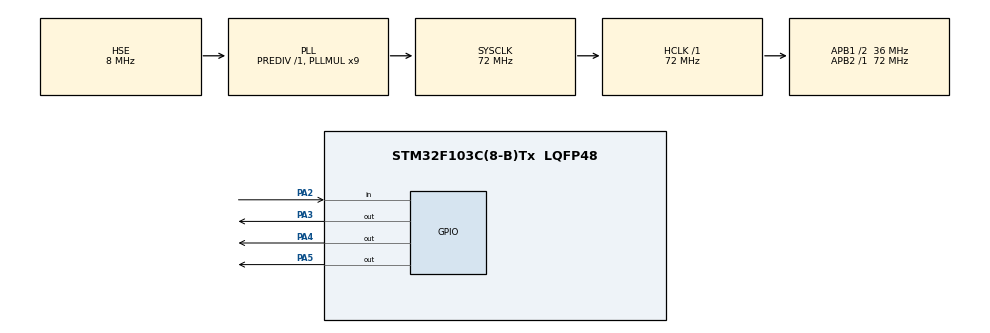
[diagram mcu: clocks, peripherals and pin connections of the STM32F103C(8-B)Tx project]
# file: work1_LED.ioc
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FREERTOS.Tasks01=defaultTask,24,128,StartDefaultTask,Default,NULL,Dynamic,NULL,NULL
Mcu.Family=STM32F1
Mcu.Name=STM32F103C(8-B)Tx
Mcu.Package=LQFP48
NVIC.PriorityGroup=NVIC_PRIORITYGROUP_4
NVIC.TIM4_IRQn=true\:15\:0\:false\:false\:true\:false\:false\:true\:true
NVIC.TimeBase=TIM4_IRQn
NVIC.TimeBaseIP=TIM4
PA13.Mode=Serial_Wire
PA13.Signal=SYS_JTMS-SWDIO
PA14.Mode=Serial_Wire
PA14.Signal=SYS_JTCK-SWCLK
PA2.GPIO_PuPd=GPIO_PULLDOWN
PA2.Signal=GPIO_Input
PA3.GPIO_ModeDefaultOutputPP=GPIO_MODE_OUTPUT_PP
PA3.GPIO_PuPd=GPIO_NOPULL
PA3.PinState=GPIO_PIN_SET
PA3.Signal=GPIO_Output
PA4.GPIO_ModeDefaultOutputPP=GPIO_MODE_OUTPUT_PP
PA4.GPIO_PuPd=GPIO_NOPULL
PA4.PinState=GPIO_PIN_SET
PA4.Signal=GPIO_Output
PA5.GPIO_ModeDefaultOutputPP=GPIO_MODE_OUTPUT_PP
PA5.GPIO_PuPd=GPIO_NOPULL
PA5.PinState=GPIO_PIN_SET
PA5.Signal=GPIO_Output
PD0-OSC_IN.Mode=HSE-External-Oscillator
PD0-OSC_IN.Signal=RCC_OSC_IN
PD1-OSC_OUT.Mode=HSE-External-Oscillator
PD1-OSC_OUT.Signal=RCC_OSC_OUT
ProjectManager.HeapSize=0x200
ProjectManager.StackSize=0x400
ProjectManager.TargetToolchain=CMake
RCC.AHBFreq_Value=72000000
RCC.APB1CLKDivider=RCC_HCLK_DIV2
RCC.APB1Freq_Value=36000000
RCC.APB1TimFreq_Value=72000000
RCC.APB2Freq_Value=72000000
RCC.APB2TimFreq_Value=72000000
RCC.HCLKFreq_Value=72000000
RCC.PLLMUL=RCC_PLL_MUL9
RCC.PLLSourceVirtual=RCC_PLLSOURCE_HSE
RCC.SYSCLKFreq_VALUE=72000000
RCC.SYSCLKSource=RCC_SYSCLKSOURCE_PLLCLK
RCC.USBFreq_Value=72000000
VP_FREERTOS_VS_CMSIS_V2.Mode=CMSIS_V2
VP_SYS_VS_tim4.Mode=TIM4
board=custom

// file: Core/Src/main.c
/* USER CODE BEGIN Header */
/**
  ******************************************************************************
  * @file           : main.c
  * @brief          : Main program body
  ******************************************************************************
  * @attention
  *
  * Copyright (c) 2026 STMicroelectronics.
  * All rights reserved.
  *
  * This software is licensed under terms that can be found in the LICENSE file
  * in the root directory of this software component.
  * If no LICENSE file comes with this software, it is provided AS-IS.
  *
  ******************************************************************************
  */
/* USER CODE END Header */
#include "main.h"
#include "cmsis_os.h"
#include "gpio.h"

/* USER CODE BEGIN Includes */
#include "LED.h"
/* USER CODE END Includes */

/* USER CODE BEGIN PV */
led_t led1;
led_t led2;
led_t led3;
/* USER CODE END PV */

void SystemClock_Config(void);
void MX_FREERTOS_Init(void);

int main(void)
{

  /* USER CODE BEGIN 1 */
  Led_Control(&led1,GPIOA,GPIO_PIN_3,0);
  Led_Control(&led2,GPIOA,GPIO_PIN_4,0);
  Led_Control(&led3,GPIOA,GPIO_PIN_5,0);
  /* USER CODE END 1 */

  /* MCU Configuration--------------------------------------------------------*/

  /* Reset of all peripherals, Initializes the Flash interface and the Systick. */
  HAL_Init();

  /* Configure the system clock */
  SystemClock_Config();

  /* Initialize all configured peripherals */
  MX_GPIO_Init();

  /* Init scheduler */
  osKernelInitialize();  /* Call init function for freertos objects (in cmsis_os2.c) */
  MX_FREERTOS_Init();

  /* Start scheduler */
  osKernelStart();

  /* We should never get here as control is now taken by the scheduler */

  /* Infinite loop */
  while (1)
  {

  }
}

void SystemClock_Config(void)
{
  RCC_OscInitTypeDef RCC_OscInitStruct = {0};
  RCC_ClkInitTypeDef RCC_ClkInitStruct = {0};

  /** Initializes the RCC Oscillators according to the specified parameters
  * in the RCC_OscInitTypeDef structure.
  */
  RCC_OscInitStruct.OscillatorType = RCC_OSCILLATORTYPE_HSE;
  RCC_OscInitStruct.HSEState = RCC_HSE_ON;
  RCC_OscInitStruct.HSEPredivValue = RCC_HSE_PREDIV_DIV1;
  RCC_OscInitStruct.HSIState = RCC_HSI_ON;
  RCC_OscInitStruct.PLL.PLLState = RCC_PLL_ON;
  RCC_OscInitStruct.PLL.PLLSource = RCC_PLLSOURCE_HSE;
  RCC_OscInitStruct.PLL.PLLMUL = RCC_PLL_MUL9;
  if (HAL_RCC_OscConfig(&RCC_OscInitStruct) != HAL_OK)
  {
    Error_Handler();
  }

  /** Initializes the CPU, AHB and APB buses clocks
  */
  RCC_ClkInitStruct.ClockType = RCC_CLOCKTYPE_HCLK|RCC_CLOCKTYPE_SYSCLK
                              |RCC_CLOCKTYPE_PCLK1|RCC_CLOCKTYPE_PCLK2;
  RCC_ClkInitStruct.SYSCLKSource = RCC_SYSCLKSOURCE_PLLCLK;
  RCC_ClkInitStruct.AHBCLKDivider = RCC_SYSCLK_DIV1;
  RCC_ClkInitStruct.APB1CLKDivider = RCC_HCLK_DIV2;
  RCC_ClkInitStruct.APB2CLKDivider = RCC_HCLK_DIV1;

  if (HAL_RCC_ClockConfig(&RCC_ClkInitStruct, FLASH_LATENCY_2) != HAL_OK)
  {
    Error_Handler();
  }
}

void HAL_TIM_PeriodElapsedCallback(TIM_HandleTypeDef *htim)
{
  if (htim->Instance == TIM4)
  {
    HAL_IncTick();
  }
}

void Error_Handler(void)
{
  __disable_irq();
  while (1)
  {
  }
}

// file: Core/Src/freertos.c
/* USER CODE BEGIN Header */
/**
  ******************************************************************************
  * File Name          : freertos.c
  * Description        : Code for freertos applications
  ******************************************************************************
  * @attention
  *
  * Copyright (c) 2026 STMicroelectronics.
  * All rights reserved.
  *
  * This software is licensed under terms that can be found in the LICENSE file
  * in the root directory of this software component.
  * If no LICENSE file comes with this software, it is provided AS-IS.
  *
  ******************************************************************************
  */
/* USER CODE END Header */

#include "FreeRTOS.h"
#include "task.h"
#include "main.h"
#include "cmsis_os.h"

/* USER CODE BEGIN Includes */
#include "LED_PA3.hpp"
#include "LED_PA4.hpp"
#include "LED_PA5.hpp"
/* USER CODE END Includes */

/* USER CODE BEGIN PM */
osThreadId_t LED_PA3_Handle;
osThreadId_t LED_PA4_Handle;
osThreadId_t LED_PA5_Handle;

/* USER CODE END PM */

/* Definitions for defaultTask */
osThreadId_t defaultTaskHandle;
const osThreadAttr_t defaultTask_attributes = {
  .name = "defaultTask",
  .stack_size = 128 * 4,
  .priority = (osPriority_t) osPriorityNormal,
};

/* USER CODE BEGIN FunctionPrototypes */
  const osThreadAttr_t LED_PA3_attributes = {
      .name = "LED_PA3",
      .stack_size = 128 * 4,
      .priority = (osPriority_t) osPriorityNormal,
    };

      const osThreadAttr_t LED_PA4_attributes = {
      .name = "LED_PA4",
      .stack_size = 128 * 4,
      .priority = (osPriority_t) osPriorityNormal,
    };

      const osThreadAttr_t LED_PA5_attributes = {
      .name = "LED_PA5",
      .stack_size = 128 * 4,
      .priority = (osPriority_t) osPriorityNormal,
    };

/* USER CODE END FunctionPrototypes */

void StartDefaultTask(void *argument);

void MX_FREERTOS_Init(void); /* (MISRA C 2004 rule 8.1) */

void MX_FREERTOS_Init(void) {

  /* Create the thread(s) */
  /* creation of defaultTask */
  defaultTaskHandle = osThreadNew(StartDefaultTask, NULL, &defaultTask_attributes);

  /* USER CODE BEGIN RTOS_THREADS */
  /* add threads, ... */
  /* create LED tasks */
  {

    LED_PA3_Handle = osThreadNew(LED_PA3, NULL, &LED_PA3_attributes);
    LED_PA4_Handle = osThreadNew(LED_PA4, NULL, &LED_PA4_attributes);
    LED_PA5_Handle = osThreadNew(LED_PA5, NULL, &LED_PA5_attributes);
  }
  /* USER CODE END RTOS_THREADS */

}

void StartDefaultTask(void *argument)
{
  for(;;)
  {
    osDelay(1);
  }
}
